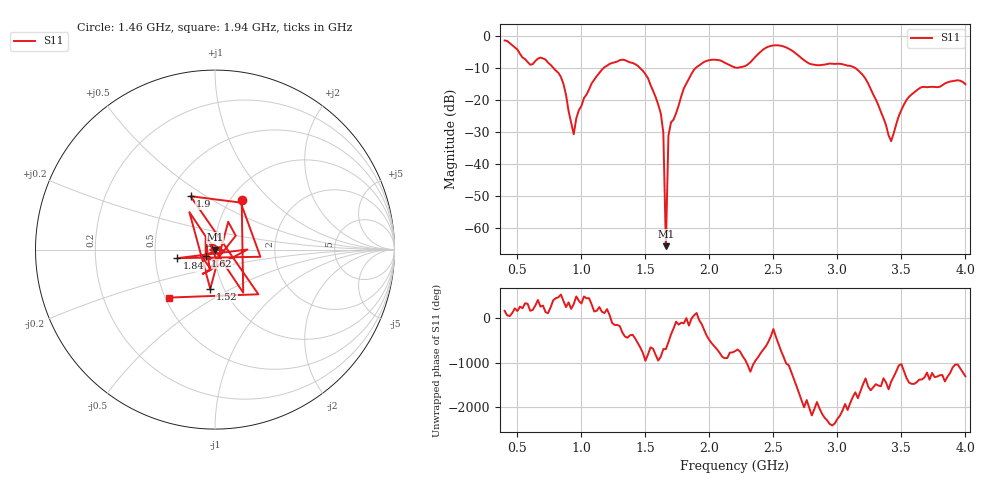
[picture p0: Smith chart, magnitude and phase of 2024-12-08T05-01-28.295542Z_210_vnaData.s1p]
!Created with skrf (http://scikit-rf.org).
# Hz S RI R 50.0
!freq ReS11 ImS11
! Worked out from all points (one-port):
!   181 points, 400 MHz to 4 GHz, reference 50 ohm
!   lowest |S11| = -65.8 dB at 1.66 GHz (marker M1), VSWR 1.00, Z = 50 + j0.0212 ohm
!   |S11| at or under -10 dB: 782.2 MHz to 1.173 GHz (391 MHz wide, 40 % of centre); 1.458 GHz to 1.893 GHz (435 MHz wide, 26 % of centre); 3.14 GHz to end of sweep
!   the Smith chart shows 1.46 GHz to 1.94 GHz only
!   S11 on the Smith chart (normalised r, x): 1.46 GHz: 1.13, +0.69; 1.52 GHz: 0.86, -0.40; 1.62 GHz: 0.90, -0.06; 1.84 GHz: 0.65, -0.06; 1.9 GHz: 0.65, +0.43; 1.94 GHz: 0.52, -0.32
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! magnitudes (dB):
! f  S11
! 400 MHz  -1.3
! 600 MHz  -9.0
! 720 MHz  -7.4
! 860 MHz  -15.0
! 940 MHz  -30.8
! 980 MHz  -23.2
! 1.08 GHz  -14.8
! 1.3 GHz  -7.5
! 1.46 GHz  -10.1
! 1.52 GHz  -13.2
! 1.62 GHz  -24.2
! 1.64 GHz  -30.2
! 1.66 GHz  -65.8
! 1.68 GHz  -31.2
! 1.76 GHz  -21.7
! 1.84 GHz  -13.3
! 1.9 GHz  -9.7
! 1.94 GHz  -8.6
! 2.2 GHz  -9.8
! 2.48 GHz  -3.0
! 2.66 GHz  -5.0
! 2.8 GHz  -8.8
! 3.1 GHz  -9.3
! 3.24 GHz  -14.8
! 3.42 GHz  -32.9
! 3.56 GHz  -19.0
! 3.66 GHz  -15.9
! 4 GHz  -15.1
